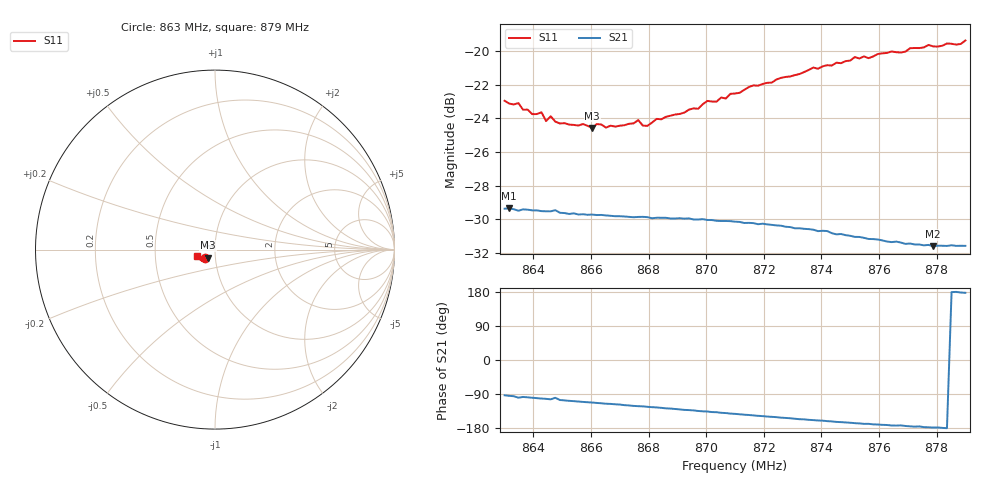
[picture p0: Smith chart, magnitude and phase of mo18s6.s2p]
# HZ S RI R 50
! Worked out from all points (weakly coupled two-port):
!   101 points, 863 MHz to 879 MHz, reference 50 ohm
!   highest |S21| = -29.35 dB at 863.16 MHz (marker M1); lowest = -31.6 dB at 877.88 MHz (marker M2)
!   lowest |S11| = -24.6 dB at 866.04 MHz (marker M3), VSWR 1.13, Z = 46.1 - j4.09 ohm
!   |S11| at or under -10 dB: start of sweep to end of sweep
!   S12 and S22 are empty: the file has one direction only
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8.63e8  -0.0539 -0.0464  -0.00192 -0.034  0 0  0 0
8.6316e8  -0.0535 -0.0447  -0.00272 -0.034  0 0  0 0
8.6348e8  -0.0543 -0.0442  -0.00554 -0.0331  0 0  0 0
8.6364e8  -0.0501 -0.0443  -0.00442 -0.0336  0 0  0 0
8.6396e8  -0.0488 -0.0428  -0.00558 -0.0332  0 0  0 0
8.6428e8  -0.0482 -0.0447  -0.0068 -0.0328  0 0  0 0
8.6444e8  -0.0464 -0.0409  -0.00722 -0.0326  0 0  0 0
8.646e8  -0.0462 -0.0442  -0.00795 -0.0324  0 0  0 0
8.6492e8  -0.0438 -0.0423  -0.00889 -0.0319  0 0  0 0
8.6572e8  -0.0416 -0.0442  -0.0115 -0.0307  0 0  0 0
8.6604e8  -0.0391 -0.0443  -0.0124 -0.0302  0 0  0 0
8.662e8  -0.0402 -0.0454  -0.0129 -0.0299  0 0  0 0
8.6652e8  -0.0374 -0.0459  -0.0139 -0.0294  0 0  0 0
8.6764e8  -0.0377 -0.0496  -0.017 -0.0273  0 0  0 0
8.6796e8  -0.0344 -0.049  -0.0177 -0.0268  0 0  0 0
8.6844e8  -0.0361 -0.0512  -0.0189 -0.0258  0 0  0 0
8.71e8  -0.0423 -0.0616  -0.0246 -0.0191  0 0  0 0
8.7372e8  -0.06 -0.066  -0.0274 -0.0107  0 0  0 0
8.7644e8  -0.0818 -0.0569  -0.0269 -0.00341  0 0  0 0
8.7788e8  -0.0921 -0.0464  -0.0263 -0.000822  0 0  0 0
8.7884e8  -0.0976 -0.0384  -0.0264 0.00087  0 0  0 0
8.79e8  -0.1008 -0.037  -0.0264 0.00124  0 0  0 0
